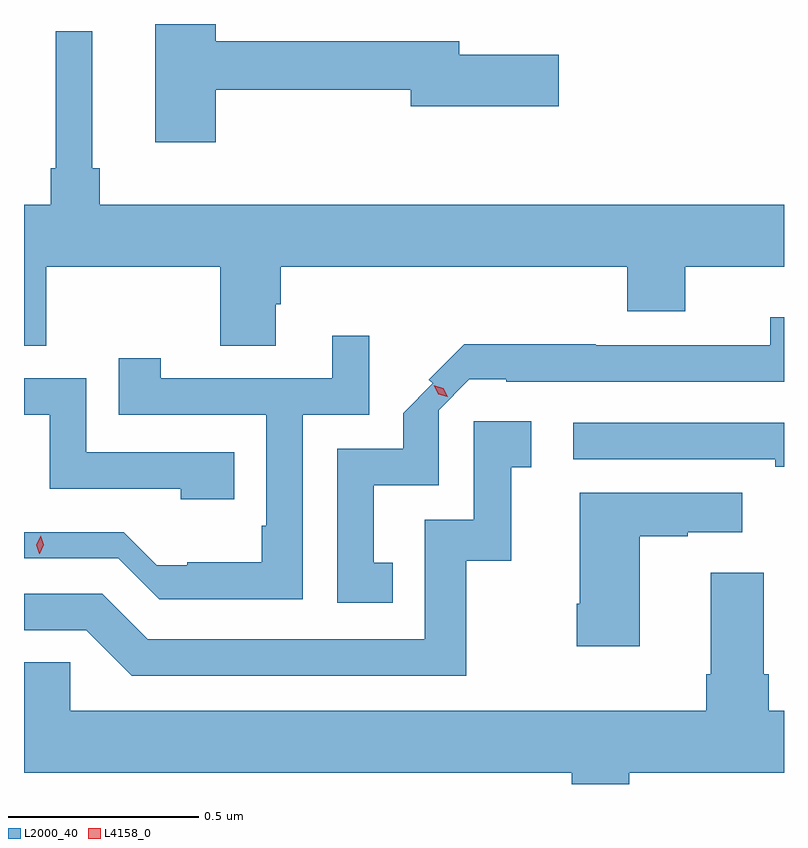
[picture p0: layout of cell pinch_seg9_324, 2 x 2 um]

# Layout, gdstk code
import gdstk
lib = gdstk.Library(unit=1e-6, precision=1e-09)
def P(c, l, *ps):  # polygons
    for p in ps: c.add(gdstk.Polygon(p, *l))
L2000_40 = (2000, 40)
L4158_0 = (4158, 0)

pinch_seg9_324 = lib.new_cell('pinch_seg9_324')
P(pinch_seg9_324, L2000_40, [(569.759,1180.902),(570.272,1180.902),(570.272,1180.859),(570.661,1180.859),(570.661,1180.994),(570.4,1180.994),(570.4,1181.03),(569.759,1181.03),(569.759,1181.075),(569.6,1181.075),(569.6,1180.764),(569.759,1180.764)],
  [(569.313,1180.436),(569.77,1180.436),(569.77,1180.228),(569.917,1180.228),(569.917,1180.338),(569.93,1180.338),(569.93,1180.436),(570.842,1180.436),(570.842,1180.319),(570.994,1180.319),(570.994,1180.436),(571.254,1180.436),(571.254,1180.6),(569.453,1180.6),(569.453,1180.696),(569.434,1180.696),(569.434,1181.056),(569.337,1181.056),(569.337,1180.696),(569.324,1180.696),(569.324,1180.6),(569.254,1180.6),(569.254,1180.228),(569.313,1180.228)],
  [(570.224,1179.657),(570.175,1179.657),(570.175,1179.861),(570.345,1179.861),(570.345,1180.059),(570.426,1180.14),(570.523,1180.14),(570.523,1180.134),(571.254,1180.134),(571.254,1180.303),(571.218,1180.303),(571.218,1180.23),(570.758,1180.23),(570.758,1180.232),(570.412,1180.232),(570.319,1180.139),(570.33,1180.129),(570.252,1180.051),(570.252,1179.957),(570.078,1179.957),(570.078,1179.552),(570.224,1179.552)],
  [(569.988,1180.047),(570.162,1180.047),(570.162,1180.255),(570.065,1180.255),(570.065,1180.143),(569.614,1180.143),(569.614,1180.195),(569.503,1180.195),(569.503,1180.047),(569.892,1180.047),(569.892,1179.754),(569.88,1179.754),(569.88,1179.658),(569.684,1179.658),(569.684,1179.651),(569.603,1179.651),(569.517,1179.738),(569.254,1179.738),(569.254,1179.669),(569.502,1179.669),(569.61,1179.561),(569.988,1179.561)],
  [(569.807,1179.948),(569.418,1179.948),(569.418,1180.143),(569.254,1180.143),(569.254,1180.047),(569.322,1180.047),(569.322,1179.852),(569.667,1179.852),(569.667,1179.824),(569.807,1179.824)],
  [(570.418,1179.663),(570.536,1179.663),(570.536,1179.909),(570.589,1179.909),(570.589,1180.03),(570.438,1180.03),(570.438,1179.771),(570.309,1179.771),(570.309,1179.456),(569.58,1179.456),(569.46,1179.576),(569.254,1179.576),(569.254,1179.48),(569.418,1179.48),(569.538,1179.36),(570.418,1179.36)],
  [(571.254,1180.026),(570.699,1180.026),(570.699,1179.93),(571.231,1179.93),(571.231,1179.91),(571.254,1179.91)],
  [(570.874,1179.727),(571.001,1179.727),(571.001,1179.737),(571.144,1179.737),(571.144,1179.841),(570.716,1179.841),(570.716,1179.55),(570.709,1179.55),(570.709,1179.438),(570.874,1179.438)],
  [(569.376,1179.395),(569.254,1179.395),(569.254,1179.104),(570.695,1179.104),(570.695,1179.075),(570.847,1179.075),(570.847,1179.104),(571.254,1179.104),(571.254,1179.268),(571.214,1179.268),(571.214,1179.364),(571.201,1179.364),(571.201,1179.631),(571.061,1179.631),(571.061,1179.364),(571.049,1179.364),(571.049,1179.268),(569.376,1179.268)])
P(pinch_seg9_324, L4158_0, [(570.368,1180.094),(570.344,1180.101),(570.332,1180.124),(570.332,1180.124),(570.332,1180.124),(570.357,1180.117),(570.369,1180.094),(570.369,1180.094)],
  [(569.294,1179.681),(569.286,1179.705),(569.298,1179.728),(569.298,1179.728),(569.298,1179.728),(569.306,1179.704),(569.295,1179.681),(569.295,1179.681)])

lib.write_gds('pinch_seg9_324.gds')
